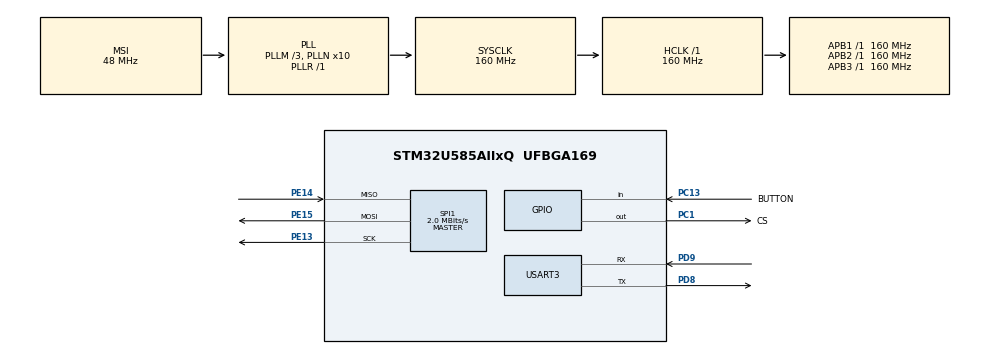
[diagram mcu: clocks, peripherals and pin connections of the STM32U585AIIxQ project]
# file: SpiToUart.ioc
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CORTEX_M33_NS.userName=CORTEX_M33
Mcu.Family=STM32U5
Mcu.Name=STM32U585AIIxQ
Mcu.Package=UFBGA169
NVIC.PriorityGroup=NVIC_PRIORITYGROUP_4
PC1.GPIO_Label=CS
PC1.GPIO_ModeDefaultOutputPP=GPIO_MODE_OUTPUT_PP
PC1.GPIO_PuPd=GPIO_NOPULL
PC1.GPIO_Speed=GPIO_SPEED_FREQ_HIGH
PC1.PinState=GPIO_PIN_SET
PC1.Signal=GPIO_Output
PC13.GPIO_Label=BUTTON
PC13.Signal=GPIO_Input
PD8.Mode=Asynchronous
PD8.Signal=USART3_TX
PD9.Mode=Asynchronous
PD9.Signal=USART3_RX
PE12.Signal=SPI1_NSS
PE13.Mode=Full_Duplex_Master
PE13.Signal=SPI1_SCK
PE14.Mode=Full_Duplex_Master
PE14.Signal=SPI1_MISO
PE15.Mode=Full_Duplex_Master
PE15.Signal=SPI1_MOSI
ProjectManager.HeapSize=0x200
ProjectManager.StackSize=0x400
ProjectManager.TargetToolchain=STM32CubeIDE
RCC.ADCFreq_Value=16000000
RCC.AHBFreq_Value=160000000
RCC.APB1Freq_Value=160000000
RCC.APB1TimFreq_Value=160000000
RCC.APB2Freq_Value=160000000
RCC.APB2TimFreq_Value=160000000
RCC.APB3Freq_Value=160000000
RCC.CortexFreq_Value=160000000
RCC.EPOD_VALUE=48000000
RCC.HCLKFreq_Value=160000000
RCC.HSE_VALUE=16000000
RCC.HSI48_VALUE=48000000
RCC.HSI_VALUE=16000000
RCC.LSE_VALUE=32768
RCC.LSIDIV_VALUE=32000
RCC.MSIClockRange=RCC_MSIRANGE_0
RCC.MSI_VALUE=48000000
RCC.PLL1R=1
RCC.PLLFRACN=0
RCC.PLLM=3
RCC.PLLN=10
RCC.SPI1CLockSelection=RCC_SPI1CLKSOURCE_MSIK
RCC.SYSCLKFreq_VALUE=160000000
RCC.SYSCLKSource=RCC_SYSCLKSOURCE_PLLCLK
RCC.USBFreq_Value=48000000
RCC.VCOOutputFreq_Value=160000000
SPI1.CalculateBaudRate=2.0 MBits/s
SPI1.DataSize=SPI_DATASIZE_8BIT
SPI1.Direction=SPI_DIRECTION_2LINES
SPI1.Mode=SPI_MODE_MASTER
SPI1.VirtualType=VM_MASTER
USART3.VirtualMode-Asynchronous=VM_ASYNC
VP_LPBAMQUEUE_VS_QUEUE.Mode=QUEUEMODE
VP_LPBAM_VS_SIG1.Mode=SmartRun
VP_LPBAM_VS_SIG4.Mode=LPDMA1
VP_MEMORYMAP_VS_MEMORYMAP.Mode=CurAppReg
VP_PWR_VS_SECSignals.Mode=Security/Privilege
board=custom

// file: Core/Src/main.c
/* USER CODE BEGIN Header */
/**
  ******************************************************************************
  * @file           : main.c
  * @brief          : Main program body
  ******************************************************************************
  * @attention
  *
  * Copyright (c) 2024 STMicroelectronics.
  * All rights reserved.
  *
  * This software is licensed under terms that can be found in the LICENSE file
  * in the root directory of this software component.
  * If no LICENSE file comes with this software, it is provided AS-IS.
  *
  ******************************************************************************
  */
/* USER CODE END Header */
#include "main.h"

/* USER CODE BEGIN Includes */
#include "Header_file.h"
#include "crc.h"

SPI_HandleTypeDef hspi1;
UART_HandleTypeDef huart3;
uint8_t spi_data[256];
uint8_t Header[6];
uint8_t uart_data[256]={0};
uint16_t checkCRC16_header;

//uint8_t sFrameRx;

void RS485Process(void)
{

	// ucChar =  USART_0_read_by#include "Data.h"te();

	while ((uint8_t)((USART3->ISR & 0x20)>>5) == 1)
	{
		uint8_t ucChar;
		ucChar = (uint8_t)(USART3->RDR);

		// Reading-----------------------------------------------
		if (sFrameRx.modbus_state == READING)
		{
			sFrameRx.u8BuffRead[sFrameRx.data_pointer++] = ucChar;
			if (sFrameRx.data_pointer == sFrameRx.byte_count)
			{
				sFrameRx.modbus_state = READING_END;
				ModbusProcess();
			}
		}

		// Check byte_count--------------------------------------
		if ((sFrameRx.u8BuffRead[3] == 0) && (sFrameRx.u8BuffRead[4] > 0))
		{
			sFrameRx.byte_count = 10 + sFrameRx.u8BuffRead[4];
		}

		// Start--------------------------------------------------
		if (sFrameRx.modbus_state == START)
		{
			if (ucChar == 0x55)
			{
				sFrameRx.data_pointer = 0;
				sFrameRx.u8BuffRead[sFrameRx.data_pointer++] = ucChar;
				sFrameRx.modbus_state = READING;

				}
				else
				{
					sFrameRx.modbus_state = START;
					sFrameRx.data_pointer = 0;
				}
			}

		}

}

void ModbusProcess(void)
{

//	sFrameRx.modbus_state = START;
//	HAL_GPIO_WritePin(CS_GPIO_Port, CS_Pin, RESET);
//	for (uint8_t i = 0 ; i< 21 ; i++){
//
////		HAL_UART_Transmit(&huart3, spi_data, sizeof(spi_data), HAL_MAX_DELAY);
//		HAL_SPI_TransmitReceive(&hspi1, sFrameRx.u8BuffRead,spi_data,sizeof(spi_data), HAL_MAX_DELAY);
//		HAL_Delay(10);
//		HAL_SPI_TransmitReceive(&hspi1,uart_data,spi_data,sizeof(uart_data), HAL_MAX_DELAY);
//		HAL_UART_Transmit(&huart3, spi_data, sizeof(spi_data), HAL_MAX_DELAY);
//		sFrameRx.u8BuffRead[2]++;
//		for(int j =0; j < 6; j++)
//		{
//			Header[j] = sFrameRx.u8BuffRead[j];
//		}
//		checkCRC16_header=crc16_arc(Header, 6);
//		sFrameRx.u8BuffRead[6]=(uint8_t)(checkCRC16_header >> 8);
//		sFrameRx.u8BuffRead[7]=(uint8_t)(checkCRC16_header);
//		HAL_Delay(100);
//	}
//	HAL_GPIO_WritePin(CS_GPIO_Port, CS_Pin, SET);

	sFrameRx.modbus_state = START;
		HAL_GPIO_WritePin(CS_GPIO_Port, CS_Pin, RESET);
		if(sFrameRx.u8BuffRead[5] == 0x01){
		for (uint8_t i = 0 ; i< 21 ; i++){

	//		HAL_UART_Transmit(&huart3, spi_data, sizeof(spi_data), HAL_MAX_DELAY);
			HAL_SPI_TransmitReceive(&hspi1, sFrameRx.u8BuffRead,spi_data,sizeof(spi_data), HAL_MAX_DELAY);
			HAL_Delay(10);
			HAL_SPI_TransmitReceive(&hspi1,uart_data,spi_data,sizeof(uart_data), HAL_MAX_DELAY);
			HAL_UART_Transmit(&huart3, spi_data, sizeof(spi_data), HAL_MAX_DELAY);
			sFrameRx.u8BuffRead[2]++;
			for(int j =0; j < 6; j++)
			{
				Header[j] = sFrameRx.u8BuffRead[j];
			}
			checkCRC16_header=crc16_arc(Header, 6);
			sFrameRx.u8BuffRead[6]=(uint8_t)(checkCRC16_header >> 8);
			sFrameRx.u8BuffRead[7]=(uint8_t)(checkCRC16_header);
//			HAL_Delay(100);
		}
		HAL_GPIO_WritePin(CS_GPIO_Port, CS_Pin, SET);
		}else if(sFrameRx.u8BuffRead[5] == 0x02){
			for (uint8_t i = 0 ; i< 16 ; i++){

				//		HAL_UART_Transmit(&huart3, spi_data, sizeof(spi_data), HAL_MAX_DELAY);
						HAL_SPI_TransmitReceive(&hspi1, sFrameRx.u8BuffRead,spi_data,sizeof(spi_data), HAL_MAX_DELAY);
						HAL_Delay(10);
						HAL_SPI_TransmitReceive(&hspi1,uart_data,spi_data,sizeof(uart_data), HAL_MAX_DELAY);
						HAL_UART_Transmit(&huart3, spi_data, sizeof(spi_data), HAL_MAX_DELAY);
						sFrameRx.u8BuffRead[2]++;
						for(int j =0; j < 6; j++)
						{
							Header[j] = sFrameRx.u8BuffRead[j];
						}
						checkCRC16_header=crc16_arc(Header, 6);
						sFrameRx.u8BuffRead[6]=(uint8_t)(checkCRC16_header >> 8);
						sFrameRx.u8BuffRead[7]=(uint8_t)(checkCRC16_header);
//						HAL_Delay(100);
					}

			HAL_GPIO_WritePin(CS_GPIO_Port, CS_Pin, SET);

		}
}
/* USER CODE END Includes */

void SystemClock_Config(void);
static void MX_GPIO_Init(void);
static void MX_SPI1_Init(void);
static void MX_USART3_UART_Init(void);

int main(void)
{

  /* MCU Configuration--------------------------------------------------------*/

  /* Reset of all peripherals, Initializes the Flash interface and the Systick. */
  HAL_Init();

  /* Configure the system clock */
  SystemClock_Config();

  /* Initialize all configured peripherals */
  MX_GPIO_Init();
  MX_SPI1_Init();
  MX_USART3_UART_Init();

  /* Infinite loop */
  /* USER CODE BEGIN WHILE */
//  uint8_t uart_data[256] = {0x55, 0x00,c 0x01, 0x00, 0x02, 0x01, 0x59, 0xCD, 0x23, 0x35, 0x27, 0xD9};
//  uint8_t test[4]="test";
//  uint8_t spi_data[256];

//  uint8_t uart_data1[12] = {0x55, 0x00, 0x01, 0x00, 0x02, 0x02, 0x58, 0x8D, 0x24, 0x36, 0x16, 0x9B};
//  uint8_t uart_data2[50] = {0x55, 0x00, 0x02, 0x00, 0x0E, 0x03, 0xDC, 0x49, 0x01, 0x02, 0x03, 0x04, 0x05, 0x06, 0x07, 0x08, 0x09,0x10, 0x11,0x22, 0x33,0x44, 0x8E, 0x95,0x21,0x55,
//		  0x00, 0x02, 0x00, 0x0E, 0x03, 0xDC, 0x49, 0x01, 0x02, 0x03, 0x04, 0x05, 0x06, 0x07, 0x08, 0x09,0x10, 0x11,0x22, 0x33,0x44, 0x8E, 0x95,0x21};// 24
//  uint8_t spi_data[256]="test";
//  uint8_t uart_data_rec[256];

//  HAL_UART_Transmit(&huart3, hexStr, sizeof(hexStr), HAL_MAX_DELAY);
//  HAL_UART_Transmit(&huart3, test, sizeof(test), HAL_MAX_DELAY);

//  HAL_UART_Transmit(&huart3,test, sizeof(tesct), HAL_MAX_DELAY);
//  HAL_UART_Receive(&huart3, uart_data_rec, sizeof(uart_data_rec), HAL_MAX_DELAY);
  //status = HAL_UART_Receive(&huart3, uart_data_rec, sizeof(uart_data_rec), HAL_MAX_DELAY);
  //status = HAL_UART_Receive(&huart3, uart_data_rec, sizeof(uart_data_rec), 1000);
//  HAL_UART_Transmit(&huart3, test, sizeof(test), HAL_MAX_DELAY);
//  HAL_SPI_TransmitReceive(&hspi1, uart_data , spi_data  ,sizeof(spi_data), 1000);
//  HAL_UART_Transmit(&huart3, spi_data, sizeof(spi_data), HAL_MAX_DELAY);

  while (1)
  {
    /* USER CODE END WHILE */

    /* USER CODE BEGIN 3 */
  RS485Process();

  }
  /* USER CODE END 3 */
}

void SystemClock_Config(void)
{
  RCC_OscInitTypeDef RCC_OscInitStruct = {0};
  RCC_ClkInitTypeDef RCC_ClkInitStruct = {0};

  /** Configure the main internal regulator output voltage
  */
  if (HAL_PWREx_ControlVoltageScaling(PWR_REGULATOR_VOLTAGE_SCALE1) != HAL_OK)
  {
    Error_Handler();
  }

  /** Initializes the CPU, AHB and APB buses clocks
  */
  RCC_OscInitStruct.OscillatorType = RCC_OSCILLATORTYPE_MSI|RCC_OSCILLATORTYPE_MSIK;
  RCC_OscInitStruct.MSIState = RCC_MSI_ON;
  RCC_OscInitStruct.MSICalibrationValue = RCC_MSICALIBRATION_DEFAULT;
  RCC_OscInitStruct.MSIClockRange = RCC_MSIRANGE_0;
  RCC_OscInitStruct.MSIKClockRange = RCC_MSIKRANGE_4;
  RCC_OscInitStruct.MSIKState = RCC_MSIK_ON;
  RCC_OscInitStruct.PLL.PLLState = RCC_PLL_ON;
  RCC_OscInitStruct.PLL.PLLSource = RCC_PLLSOURCE_MSI;
  RCC_OscInitStruct.PLL.PLLMBOOST = RCC_PLLMBOOST_DIV4;
  RCC_OscInitStruct.PLL.PLLM = 3;
  RCC_OscInitStruct.PLL.PLLN = 10;
  RCC_OscInitStruct.PLL.PLLP = 2;
  RCC_OscInitStruct.PLL.PLLQ = 2;
  RCC_OscInitStruct.PLL.PLLR = 1;
  RCC_OscInitStruct.PLL.PLLRGE = RCC_PLLVCIRANGE_1;
  RCC_OscInitStruct.PLL.PLLFRACN = 0;
  if (HAL_RCC_OscConfig(&RCC_OscInitStruct) != HAL_OK)
  {
    Error_Handler();
  }

  /** Initializes the CPU, AHB and APB buses clocks
  */
  RCC_ClkInitStruct.ClockType = RCC_CLOCKTYPE_HCLK|RCC_CLOCKTYPE_SYSCLK
                              |RCC_CLOCKTYPE_PCLK1|RCC_CLOCKTYPE_PCLK2
                              |RCC_CLOCKTYPE_PCLK3;
  RCC_ClkInitStruct.SYSCLKSource = RCC_SYSCLKSOURCE_PLLCLK;
  RCC_ClkInitStruct.AHBCLKDivider = RCC_SYSCLK_DIV1;
  RCC_ClkInitStruct.APB1CLKDivider = RCC_HCLK_DIV1;
  RCC_ClkInitStruct.APB2CLKDivider = RCC_HCLK_DIV1;
  RCC_ClkInitStruct.APB3CLKDivider = RCC_HCLK_DIV1;

  if (HAL_RCC_ClockConfig(&RCC_ClkInitStruct, FLASH_LATENCY_4) != HAL_OK)
  {
    Error_Handler();
  }
}

static void MX_SPI1_Init(void)
{

  SPI_AutonomousModeConfTypeDef HAL_SPI_AutonomousMode_Cfg_Struct = {0};

  /* SPI1 parameter configuration*/
  hspi1.Instance = SPI1;
  hspi1.Init.Mode = SPI_MODE_MASTER;
  hspi1.Init.Direction = SPI_DIRECTION_2LINES;
  hspi1.Init.DataSize = SPI_DATASIZE_8BIT;
  hspi1.Init.CLKPolarity = SPI_POLARITY_LOW;
  hspi1.Init.CLKPhase = SPI_PHASE_1EDGE;
  hspi1.Init.NSS = SPI_NSS_SOFT;
  hspi1.Init.BaudRatePrescaler = SPI_BAUDRATEPRESCALER_256;
  hspi1.Init.FirstBit = SPI_FIRSTBIT_MSB;
  hspi1.Init.TIMode = SPI_TIMODE_DISABLE;
  hspi1.Init.CRCCalculation = SPI_CRCCALCULATION_DISABLE;
  hspi1.Init.CRCPolynomial = 0x7;
  hspi1.Init.NSSPMode = SPI_NSS_PULSE_ENABLE;
  hspi1.Init.NSSPolarity = SPI_NSS_POLARITY_LOW;
  hspi1.Init.FifoThreshold = SPI_FIFO_THRESHOLD_01DATA;
  hspi1.Init.MasterSSIdleness = SPI_MASTER_SS_IDLENESS_00CYCLE;
  hspi1.Init.MasterInterDataIdleness = SPI_MASTER_INTERDATA_IDLENESS_00CYCLE;
  hspi1.Init.MasterReceiverAutoSusp = SPI_MASTER_RX_AUTOSUSP_DISABLE;
  hspi1.Init.MasterKeepIOState = SPI_MASTER_KEEP_IO_STATE_DISABLE;
  hspi1.Init.IOSwap = SPI_IO_SWAP_DISABLE;
  hspi1.Init.ReadyMasterManagement = SPI_RDY_MASTER_MANAGEMENT_INTERNALLY;
  hspi1.Init.ReadyPolarity = SPI_RDY_POLARITY_HIGH;
  if (HAL_SPI_Init(&hspi1) != HAL_OK)
  {
    Error_Handler();
  }
  HAL_SPI_AutonomousMode_Cfg_Struct.TriggerState = SPI_AUTO_MODE_DISABLE;
  HAL_SPI_AutonomousMode_Cfg_Struct.TriggerSelection = SPI_GRP1_GPDMA_CH0_TCF_TRG;
  HAL_SPI_AutonomousMode_Cfg_Struct.TriggerPolarity = SPI_TRIG_POLARITY_RISING;
  if (HAL_SPIEx_SetConfigAutonomousMode(&hspi1, &HAL_SPI_AutonomousMode_Cfg_Struct) != HAL_OK)
  {
    Error_Handler();
  }

}

static void MX_USART3_UART_Init(void)
{

  huart3.Instance = USART3;
  huart3.Init.BaudRate = 115200;
  huart3.Init.WordLength = UART_WORDLENGTH_8B;
  huart3.Init.StopBits = UART_STOPBITS_1;
  huart3.Init.Parity = UART_PARITY_NONE;
  huart3.Init.Mode = UART_MODE_TX_RX;
  huart3.Init.HwFlowCtl = UART_HWCONTROL_NONE;
  huart3.Init.OverSampling = UART_OVERSAMPLING_16;
  huart3.Init.OneBitSampling = UART_ONE_BIT_SAMPLE_DISABLE;
  huart3.Init.ClockPrescaler = UART_PRESCALER_DIV1;
  huart3.AdvancedInit.AdvFeatureInit = UART_ADVFEATURE_NO_INIT;
  if (HAL_UART_Init(&huart3) != HAL_OK)
  {
    Error_Handler();
  }
  if (HAL_UARTEx_SetTxFifoThreshold(&huart3, UART_TXFIFO_THRESHOLD_1_8) != HAL_OK)
  {
    Error_Handler();
  }
  if (HAL_UARTEx_SetRxFifoThreshold(&huart3, UART_RXFIFO_THRESHOLD_1_8) != HAL_OK)
  {
    Error_Handler();
  }
  if (HAL_UARTEx_DisableFifoMode(&huart3) != HAL_OK)
  {
    Error_Handler();
  }

}

static void MX_GPIO_Init(void)
{
  GPIO_InitTypeDef GPIO_InitStruct = {0};

  /* GPIO Ports Clock Enable */
  __HAL_RCC_GPIOC_CLK_ENABLE();
  __HAL_RCC_GPIOE_CLK_ENABLE();
  __HAL_RCC_GPIOD_CLK_ENABLE();

  /*Configure GPIO pin Output Level */
  HAL_GPIO_WritePin(CS_GPIO_Port, CS_Pin, GPIO_PIN_SET);

  /*Configure GPIO pin : BUTTON_Pin */
  GPIO_InitStruct.Pin = BUTTON_Pin;
  GPIO_InitStruct.Mode = GPIO_MODE_INPUT;
  GPIO_InitStruct.Pull = GPIO_NOPULL;
  HAL_GPIO_Init(BUTTON_GPIO_Port, &GPIO_InitStruct);

  /*Configure GPIO pin : CS_Pin */
  GPIO_InitStruct.Pin = CS_Pin;
  GPIO_InitStruct.Mode = GPIO_MODE_OUTPUT_PP;
  GPIO_InitStruct.Pull = GPIO_NOPULL;
  GPIO_InitStruct.Speed = GPIO_SPEED_FREQ_HIGH;
  HAL_GPIO_Init(CS_GPIO_Port, &GPIO_InitStruct);

}

void Error_Handler(void)
{
  __disable_irq();
  while (1)
  {
  }
}
